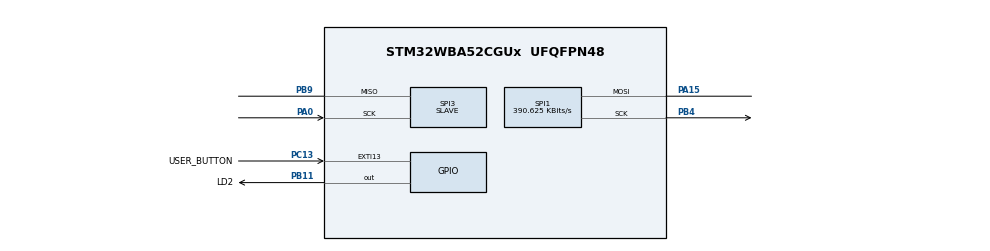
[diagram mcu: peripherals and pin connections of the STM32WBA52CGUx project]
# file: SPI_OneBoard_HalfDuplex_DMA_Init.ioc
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CORTEX_M33_NS.userName=CORTEX_M33
GPDMA1.DESTINC_GPDMACH1=DMA_DINC_INCREMENTED
GPDMA1.DIRECTION_GPDMACH0=DMA_MEMORY_TO_PERIPH
GPDMA1.IPHANDLE_GPDMACH0-SIMPLEREQUEST_GPDMACH0=__NULL
GPDMA1.IPHANDLE_GPDMACH1-SIMPLEREQUEST_GPDMACH1=__NULL
GPDMA1.REQUEST_GPDMACH0=GPDMA1_REQUEST_SPI1_TX
GPDMA1.REQUEST_GPDMACH1=GPDMA1_REQUEST_SPI3_RX
GPDMA1.SRCINC_GPDMACH0=DMA_SINC_INCREMENTED
GPDMA1.TRANSFERALLOCATEDPORTDEST_GPDMACH1=DMA_DEST_ALLOCATED_PORT1
GPDMA1.TRANSFERALLOCATEDPORTSRC_GPDMACH0=DMA_SRC_ALLOCATED_PORT1
Mcu.Family=STM32WBA
Mcu.Name=STM32WBA52CGUx
Mcu.Package=UFQFPN48
NVIC.EXTI13_IRQn=true\:0\:0\:false\:false\:true\:true\:true\:true
NVIC.GPDMA1_Channel0_IRQn=true\:0\:0\:false\:false\:true\:false\:true\:true
NVIC.GPDMA1_Channel1_IRQn=true\:0\:0\:false\:false\:true\:false\:true\:true
NVIC.PriorityGroup=NVIC_PRIORITYGROUP_4
OSC_IN.Mode=HSE-External-Oscillator
OSC_IN.Signal=RCC_OSC_IN
OSC_OUT.Mode=HSE-External-Oscillator
OSC_OUT.Signal=RCC_OSC_OUT
PA0.GPIO_PuPd=GPIO_PULLDOWN
PA0.GPIO_Speed=GPIO_SPEED_FREQ_HIGH
PA0.Mode=Simplex_Bidirectional_Slave
PA0.Signal=SPI3_SCK
PA15\ (JTDI).GPIO_PuPd=GPIO_PULLDOWN
PA15\ (JTDI).GPIO_Speed=GPIO_SPEED_FREQ_HIGH
PA15\ (JTDI).Mode=Simplex_Bidirectional_Master
PA15\ (JTDI).Signal=SPI1_MOSI
PB11.GPIO_Label=LD2
PB11.PinState=GPIO_PIN_SET
PB11.Signal=GPIO_Output
PB4\ (NJTRST).GPIO_PuPd=GPIO_PULLDOWN
PB4\ (NJTRST).GPIO_Speed=GPIO_SPEED_FREQ_HIGH
PB4\ (NJTRST).Mode=Simplex_Bidirectional_Master
PB4\ (NJTRST).Signal=SPI1_SCK
PB9.GPIO_PuPd=GPIO_PULLDOWN
PB9.GPIO_Speed=GPIO_SPEED_FREQ_HIGH
PB9.Mode=Simplex_Bidirectional_Slave
PB9.Signal=SPI3_MISO
PC13.GPIO_Label=USER_BUTTON
PC13.GPIO_ModeDefaultEXTI=GPIO_MODE_IT_FALLING
PC13.GPIO_PuPd=GPIO_PULLUP
PC13.Signal=GPXTI13
ProjectManager.HeapSize=0x200
ProjectManager.StackSize=0x400
ProjectManager.TargetToolchain=EWARM V9.20
RCC.ADCFreq_Value=100000000
RCC.AHB5CLKDivider=DIV4
RCC.AHBFreq_Value=100000000
RCC.APB1Freq_Value=100000000
RCC.APB1TimFreq_Value=100000000
RCC.APB2Freq_Value=100000000
RCC.APB2TimFreq_Value=100000000
RCC.CortexFreq_Value=12500000
RCC.HCLKFreq_Value=100000000
RCC.HSE_VALUE=32000000
RCC.HSI_VALUE=16000000
RCC.LSE_VALUE=32768
RCC.PLLFRACN=0
RCC.PLLM=4
RCC.PLLN=25
RCC.PLLSourceVirtual=RCC_PLLSOURCE_HSE
RCC.SYSCLKFreq_VALUE=100000000
RCC.SYSCLKSourceVirtual=RCC_SYSCLKSOURCE_PLLCLK
RCC.VCOOutputFreq_Value=200000000
SPI1.BaudRatePrescaler=SPI_BAUDRATEPRESCALER_256
SPI1.CLKPhase=SPI_PHASE_2EDGE
SPI1.CLKPolarity=SPI_POLARITY_HIGH
SPI1.CalculateBaudRate=390.625 KBits/s
SPI1.DataSize=SPI_DATASIZE_8BIT
SPI1.Direction=SPI_DIRECTION_1LINE
SPI1.Mode=SPI_MODE_MASTER
SPI1.VirtualType=VM_MASTER
SPI3.CLKPhase=SPI_PHASE_2EDGE
SPI3.CLKPolarity=SPI_POLARITY_HIGH
SPI3.CRCCalculation=SPI_CRCCALCULATION_DISABLE
SPI3.DataSize=SPI_DATASIZE_8BIT
SPI3.Direction=SPI_DIRECTION_1LINE
SPI3.FirstBit=SPI_FIRSTBIT_MSB
SPI3.Mode=SPI_MODE_SLAVE
SPI3.NSS=SPI_NSS_SOFT
SPI3.TIMode=SPI_TIMODE_DISABLE
SPI3.VirtualType=VM_SLAVE
VP_GPDMA1_VS_GPDMACH0.Mode=SIMPLEREQUEST_GPDMACH0
VP_GPDMA1_VS_GPDMACH1.Mode=SIMPLEREQUEST_GPDMACH1
VP_ICACHE_VS_ICACHE.Mode=DirectMappedCache
VP_PWR_VS_SECSignals.Mode=Security/Privilege
board=custom

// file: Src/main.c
/* USER CODE BEGIN Header */
/**
  ******************************************************************************
  * @file    Examples_LL/SPI/SPI_OneBoard_HalfDuplex_DMA_Init/Src/main.c
  * @author  MCD Application Team
  * @brief   This example describes how to send/receive bytes over SPI IP using
  *          the STM32WBAxx SPI LL API.
  *          Peripheral initialization done using LL initialization function.
  ******************************************************************************
  * @attention
  *
  * Copyright (c) 2023 STMicroelectronics.
  * All rights reserved.
  *
  * This software is licensed under terms that can be found in the LICENSE file
  * in the root directory of this software component.
  * If no LICENSE file comes with this software, it is provided AS-IS.
  *
  ******************************************************************************
  */
/* USER CODE END Header */
#include "main.h"

/* USER CODE BEGIN PTD */
LL_SPI_InitTypeDef spi_initstruct;
/* USER CODE END PTD */

/* USER CODE BEGIN PV */
__IO uint8_t ubButtonPress = 0;

/* Buffer used for transmission */
uint8_t aTxBuffer[] = "**** SPI_OneBoard_HalfDuplex_DMA_Init communication **** SPI_OneBoard_HalfDuplex_DMA_Init communication **** SPI_OneBoard_HalfDuplex_DMA_Init communication ****";
uint8_t ubNbDataToTransmit = sizeof(aTxBuffer);
__IO uint8_t ubTransmissionComplete = 0;

/* Buffer used for reception */
uint8_t aRxBuffer[sizeof(aTxBuffer)];
uint8_t ubNbDataToReceive = sizeof(aTxBuffer);
__IO uint8_t ubReceptionComplete = 0;
/* USER CODE END PV */

void SystemClock_Config(void);
static void MX_GPIO_Init(void);
static void MX_GPDMA1_Init(void);
static void MX_ICACHE_Init(void);
static void MX_SPI1_Init(void);
static void MX_SPI3_Init(void);
/* USER CODE BEGIN PFP */
void     SystemClock_Config(void);
void     Activate_SPI1(void);
void     Activate_SPI3(void);
void     LED_On(void);
void     LED_Blinking(uint32_t Period);
void     LED_Off(void);
void     UserButton_Init(void);
void     WaitForUserButtonPress(void);
void     WaitAndCheckEndOfTransfer(void);
uint8_t  Buffercmp8(uint8_t *pBuffer1, uint8_t *pBuffer2, uint8_t BufferLength);
/* USER CODE END PFP */

int main(void)
{

  /* MCU Configuration--------------------------------------------------------*/

  /* Reset of all peripherals, Initializes the Flash interface and the Systick. */

  /* System interrupt init*/
  NVIC_SetPriorityGrouping(NVIC_PRIORITYGROUP_4);

  /* Enable PWR clock interface */

  LL_AHB4_GRP1_EnableClock(LL_AHB4_GRP1_PERIPH_PWR);

  /* Configure the system clock */
  SystemClock_Config();

  /* Initialize all configured peripherals */
  MX_GPIO_Init();
  MX_GPDMA1_Init();
  MX_ICACHE_Init();
  MX_SPI1_Init();
  MX_SPI3_Init();
  /* USER CODE BEGIN 2 */
  /* Configure the GPDMA1_Channel0 functional parameters */
  LL_DMA_ConfigAddresses(GPDMA1, LL_DMA_CHANNEL_0, (uint32_t)aTxBuffer, (uint32_t)&(SPI1->TXDR));

  LL_DMA_SetBlkDataLength(GPDMA1, LL_DMA_CHANNEL_0, ubNbDataToTransmit);
  LL_DMA_SetPeriphRequest(GPDMA1, LL_DMA_CHANNEL_0, LL_GPDMA1_REQUEST_SPI1_TX);

  /* Configure the GPDMA1_Channel1 functional parameters */
  LL_DMA_ConfigAddresses(GPDMA1, LL_DMA_CHANNEL_1, (uint32_t)&(SPI3->RXDR), (uint32_t)aRxBuffer);
  LL_DMA_SetBlkDataLength(GPDMA1, LL_DMA_CHANNEL_1, ubNbDataToTransmit);
  LL_DMA_SetPeriphRequest(GPDMA1, LL_DMA_CHANNEL_1, LL_GPDMA1_REQUEST_SPI3_RX);

  /* Enable DMA interrupts complete/error */
  LL_DMA_EnableIT_TC(GPDMA1, LL_DMA_CHANNEL_0);
  LL_DMA_EnableIT_DTE(GPDMA1, LL_DMA_CHANNEL_0);
  LL_DMA_EnableIT_TC(GPDMA1, LL_DMA_CHANNEL_1);
  LL_DMA_EnableIT_DTE(GPDMA1, LL_DMA_CHANNEL_1);

  /* Initialize FFIFO Threshold */
  LL_SPI_SetFIFOThreshold(SPI1, LL_SPI_FIFO_TH_01DATA);

  /* Configure SPI1 DMA transfer interrupts */
  /* Enable DMA TX Interrupt */
  LL_SPI_EnableDMAReq_TX(SPI1);

  /* Initialize FFIFO Threshold */
  LL_SPI_SetFIFOThreshold(SPI3, LL_SPI_FIFO_TH_01DATA);

  /* Configure SPI1 DMA transfer interrupts */
  /* Enable DMA RX Interrupt */
  LL_SPI_EnableDMAReq_RX(SPI3);

  /* Enable the SPI1 peripheral */
  Activate_SPI1();
  /* Enable the SPI3 peripheral */
  Activate_SPI3();

  /* Wait for USER push-button press to start transfer */
  WaitForUserButtonPress();

  /* Start Master transfer */
  LL_SPI_StartMasterTransfer(SPI1);

  /* Wait for the end of the transfer and check received data */
  /* LED blinking FAST during waiting time */
  WaitAndCheckEndOfTransfer();
  /* USER CODE END 2 */

  /* Infinite loop */
  while (1)
  {

  }
}

void SystemClock_Config(void)
{
  LL_FLASH_SetLatency(LL_FLASH_LATENCY_3);
  while(LL_FLASH_GetLatency()!= LL_FLASH_LATENCY_3)
  {
  }

  LL_PWR_SetRegulVoltageScaling(LL_PWR_REGU_VOLTAGE_SCALE1);
  LL_RCC_HSE_Enable();

   /* Wait till HSE is ready */
  while(LL_RCC_HSE_IsReady() != 1)
  {
  }

  LL_RCC_PLL1_ConfigDomain_SYS(LL_RCC_PLL1SOURCE_HSE, 4, 25, 2);
  LL_RCC_PLL1_EnableDomain_PLL1R();
  LL_RCC_PLL1_SetVCOInputRange(LL_RCC_PLLINPUTRANGE_8_16);
  LL_RCC_PLL1_Enable();

   /* Wait till PLL is ready */
  while(LL_RCC_PLL1_IsReady() != 1)
  {
  }

  LL_RCC_SetSysClkSource(LL_RCC_SYS_CLKSOURCE_PLL1R);

   /* Wait till System clock is ready */
  while(LL_RCC_GetSysClkSource() != LL_RCC_SYS_CLKSOURCE_STATUS_PLL1R)
  {
  }

  LL_RCC_SetAHBPrescaler(LL_RCC_SYSCLK_DIV_1);
  LL_RCC_SetAHB5Prescaler(LL_RCC_AHB5_DIV_4);
  LL_RCC_SetAPB1Prescaler(LL_RCC_APB1_DIV_1);
  LL_RCC_SetAPB2Prescaler(LL_RCC_APB2_DIV_1);
  LL_RCC_SetAPB7Prescaler(LL_RCC_APB7_DIV_1);

  LL_Init1msTick(100000000);

  LL_SetSystemCoreClock(100000000);
}

static void MX_GPDMA1_Init(void)
{

  /* Peripheral clock enable */
  LL_AHB1_GRP1_EnableClock(LL_AHB1_GRP1_PERIPH_GPDMA1);

  /* GPDMA1 interrupt Init */
  NVIC_SetPriority(GPDMA1_Channel0_IRQn, NVIC_EncodePriority(NVIC_GetPriorityGrouping(),0, 0));
  NVIC_EnableIRQ(GPDMA1_Channel0_IRQn);
  NVIC_SetPriority(GPDMA1_Channel1_IRQn, NVIC_EncodePriority(NVIC_GetPriorityGrouping(),0, 0));
  NVIC_EnableIRQ(GPDMA1_Channel1_IRQn);

}

static void MX_ICACHE_Init(void)
{

  /** Enable instruction cache in 1-way (direct mapped cache)
  */
  LL_ICACHE_SetMode(LL_ICACHE_1WAY);
  LL_ICACHE_Enable();

}

static void MX_SPI1_Init(void)
{

  LL_SPI_InitTypeDef SPI_InitStruct = {0};

  LL_GPIO_InitTypeDef GPIO_InitStruct = {0};
  LL_DMA_InitTypeDef DMA_InitStruct = {0};

  LL_RCC_SetSPIClockSource(LL_RCC_SPI1_CLKSOURCE_PCLK2);

  /* Peripheral clock enable */
  LL_APB2_GRP1_EnableClock(LL_APB2_GRP1_PERIPH_SPI1);

  LL_AHB2_GRP1_EnableClock(LL_AHB2_GRP1_PERIPH_GPIOB);
  LL_AHB2_GRP1_EnableClock(LL_AHB2_GRP1_PERIPH_GPIOA);
  /**SPI1 GPIO Configuration
  PB4 (NJTRST)   ------> SPI1_SCK
  PA15 (JTDI)   ------> SPI1_MOSI
  */
  GPIO_InitStruct.Pin = LL_GPIO_PIN_4;
  GPIO_InitStruct.Mode = LL_GPIO_MODE_ALTERNATE;
  GPIO_InitStruct.Speed = LL_GPIO_SPEED_FREQ_HIGH;
  GPIO_InitStruct.OutputType = LL_GPIO_OUTPUT_PUSHPULL;
  GPIO_InitStruct.Pull = LL_GPIO_PULL_DOWN;
  GPIO_InitStruct.Alternate = LL_GPIO_AF_5;
  LL_GPIO_Init(GPIOB, &GPIO_InitStruct);

  GPIO_InitStruct.Pin = LL_GPIO_PIN_15;
  GPIO_InitStruct.Mode = LL_GPIO_MODE_ALTERNATE;
  GPIO_InitStruct.Speed = LL_GPIO_SPEED_FREQ_HIGH;
  GPIO_InitStruct.OutputType = LL_GPIO_OUTPUT_PUSHPULL;
  GPIO_InitStruct.Pull = LL_GPIO_PULL_DOWN;
  GPIO_InitStruct.Alternate = LL_GPIO_AF_5;
  LL_GPIO_Init(GPIOA, &GPIO_InitStruct);

  /* SPI1 DMA Init */

  /* GPDMA1_REQUEST_SPI1_TX Init */
  DMA_InitStruct.SrcAddress = 0x00000000U;
  DMA_InitStruct.DestAddress = 0x00000000U;
  DMA_InitStruct.Direction = LL_DMA_DIRECTION_MEMORY_TO_PERIPH;
  DMA_InitStruct.BlkHWRequest = LL_DMA_HWREQUEST_SINGLEBURST;
  DMA_InitStruct.DataAlignment = LL_DMA_DATA_ALIGN_ZEROPADD;
  DMA_InitStruct.SrcBurstLength = 1;
  DMA_InitStruct.DestBurstLength = 1;
  DMA_InitStruct.SrcDataWidth = LL_DMA_SRC_DATAWIDTH_BYTE;
  DMA_InitStruct.DestDataWidth = LL_DMA_DEST_DATAWIDTH_BYTE;
  DMA_InitStruct.SrcIncMode = LL_DMA_SRC_INCREMENT;
  DMA_InitStruct.DestIncMode = LL_DMA_DEST_FIXED;
  DMA_InitStruct.Priority = LL_DMA_LOW_PRIORITY_LOW_WEIGHT;
  DMA_InitStruct.BlkDataLength = 0x00000000U;
  DMA_InitStruct.TriggerMode = LL_DMA_TRIGM_BLK_TRANSFER;
  DMA_InitStruct.TriggerPolarity = LL_DMA_TRIG_POLARITY_MASKED;
  DMA_InitStruct.TriggerSelection = 0x00000000U;
  DMA_InitStruct.Request = LL_GPDMA1_REQUEST_SPI1_TX;
  DMA_InitStruct.TransferEventMode = LL_DMA_TCEM_BLK_TRANSFER;
  DMA_InitStruct.SrcAllocatedPort = LL_DMA_SRC_ALLOCATED_PORT1;
  DMA_InitStruct.DestAllocatedPort = LL_DMA_DEST_ALLOCATED_PORT0;
  DMA_InitStruct.LinkAllocatedPort = LL_DMA_LINK_ALLOCATED_PORT1;
  DMA_InitStruct.LinkStepMode = LL_DMA_LSM_FULL_EXECUTION;
  DMA_InitStruct.LinkedListBaseAddr = 0x00000000U;
  DMA_InitStruct.LinkedListAddrOffset = 0x00000000U;
  LL_DMA_Init(GPDMA1, LL_DMA_CHANNEL_0, &DMA_InitStruct);

  /* SPI1 parameter configuration*/
  SPI_InitStruct.TransferDirection = LL_SPI_HALF_DUPLEX_TX;
  SPI_InitStruct.Mode = LL_SPI_MODE_MASTER;
  SPI_InitStruct.DataWidth = LL_SPI_DATAWIDTH_8BIT;
  SPI_InitStruct.ClockPolarity = LL_SPI_POLARITY_HIGH;
  SPI_InitStruct.ClockPhase = LL_SPI_PHASE_2EDGE;
  SPI_InitStruct.NSS = LL_SPI_NSS_SOFT;
  SPI_InitStruct.BaudRate = LL_SPI_BAUDRATEPRESCALER_DIV256;
  SPI_InitStruct.BitOrder = LL_SPI_MSB_FIRST;
  SPI_InitStruct.CRCCalculation = LL_SPI_CRCCALCULATION_DISABLE;
  SPI_InitStruct.CRCPoly = 0x7;
  LL_SPI_Init(SPI1, &SPI_InitStruct);
  LL_SPI_SetStandard(SPI1, LL_SPI_PROTOCOL_MOTOROLA);
  LL_SPI_DisableNSSPulseMgt(SPI1);

}

static void MX_SPI3_Init(void)
{

  LL_SPI_InitTypeDef SPI_InitStruct = {0};

  LL_GPIO_InitTypeDef GPIO_InitStruct = {0};
  LL_DMA_InitTypeDef DMA_InitStruct = {0};

  LL_RCC_SetSPIClockSource(LL_RCC_SPI3_CLKSOURCE_PCLK7);

  /* Peripheral clock enable */
  LL_APB7_GRP1_EnableClock(LL_APB7_GRP1_PERIPH_SPI3);

  LL_AHB2_GRP1_EnableClock(LL_AHB2_GRP1_PERIPH_GPIOA);
  LL_AHB2_GRP1_EnableClock(LL_AHB2_GRP1_PERIPH_GPIOB);
  /**SPI3 GPIO Configuration
  PA0   ------> SPI3_SCK
  PB9   ------> SPI3_MISO
  */
  GPIO_InitStruct.Pin = LL_GPIO_PIN_0;
  GPIO_InitStruct.Mode = LL_GPIO_MODE_ALTERNATE;
  GPIO_InitStruct.Speed = LL_GPIO_SPEED_FREQ_HIGH;
  GPIO_InitStruct.OutputType = LL_GPIO_OUTPUT_PUSHPULL;
  GPIO_InitStruct.Pull = LL_GPIO_PULL_DOWN;
  GPIO_InitStruct.Alternate = LL_GPIO_AF_6;
  LL_GPIO_Init(GPIOA, &GPIO_InitStruct);

  GPIO_InitStruct.Pin = LL_GPIO_PIN_9;
  GPIO_InitStruct.Mode = LL_GPIO_MODE_ALTERNATE;
  GPIO_InitStruct.Speed = LL_GPIO_SPEED_FREQ_HIGH;
  GPIO_InitStruct.OutputType = LL_GPIO_OUTPUT_PUSHPULL;
  GPIO_InitStruct.Pull = LL_GPIO_PULL_DOWN;
  GPIO_InitStruct.Alternate = LL_GPIO_AF_6;
  LL_GPIO_Init(GPIOB, &GPIO_InitStruct);

  /* SPI3 DMA Init */

  /* GPDMA1_REQUEST_SPI3_RX Init */
  DMA_InitStruct.SrcAddress = 0x00000000U;
  DMA_InitStruct.DestAddress = 0x00000000U;
  DMA_InitStruct.Direction = LL_DMA_DIRECTION_PERIPH_TO_MEMORY;
  DMA_InitStruct.BlkHWRequest = LL_DMA_HWREQUEST_SINGLEBURST;
  DMA_InitStruct.DataAlignment = LL_DMA_DATA_ALIGN_ZEROPADD;
  DMA_InitStruct.SrcBurstLength = 1;
  DMA_InitStruct.DestBurstLength = 1;
  DMA_InitStruct.SrcDataWidth = LL_DMA_SRC_DATAWIDTH_BYTE;
  DMA_InitStruct.DestDataWidth = LL_DMA_DEST_DATAWIDTH_BYTE;
  DMA_InitStruct.SrcIncMode = LL_DMA_SRC_FIXED;
  DMA_InitStruct.DestIncMode = LL_DMA_DEST_INCREMENT;
  DMA_InitStruct.Priority = LL_DMA_LOW_PRIORITY_LOW_WEIGHT;
  DMA_InitStruct.BlkDataLength = 0x00000000U;
  DMA_InitStruct.TriggerMode = LL_DMA_TRIGM_BLK_TRANSFER;
  DMA_InitStruct.TriggerPolarity = LL_DMA_TRIG_POLARITY_MASKED;
  DMA_InitStruct.TriggerSelection = 0x00000000U;
  DMA_InitStruct.Request = LL_GPDMA1_REQUEST_SPI3_RX;
  DMA_InitStruct.TransferEventMode = LL_DMA_TCEM_BLK_TRANSFER;
  DMA_InitStruct.SrcAllocatedPort = LL_DMA_SRC_ALLOCATED_PORT0;
  DMA_InitStruct.DestAllocatedPort = LL_DMA_DEST_ALLOCATED_PORT1;
  DMA_InitStruct.LinkAllocatedPort = LL_DMA_LINK_ALLOCATED_PORT1;
  DMA_InitStruct.LinkStepMode = LL_DMA_LSM_FULL_EXECUTION;
  DMA_InitStruct.LinkedListBaseAddr = 0x00000000U;
  DMA_InitStruct.LinkedListAddrOffset = 0x00000000U;
  LL_DMA_Init(GPDMA1, LL_DMA_CHANNEL_1, &DMA_InitStruct);

  /* SPI3 parameter configuration*/
  SPI_InitStruct.TransferDirection = LL_SPI_HALF_DUPLEX_RX;
  SPI_InitStruct.Mode = LL_SPI_MODE_SLAVE;
  SPI_InitStruct.DataWidth = LL_SPI_DATAWIDTH_8BIT;
  SPI_InitStruct.ClockPolarity = LL_SPI_POLARITY_HIGH;
  SPI_InitStruct.ClockPhase = LL_SPI_PHASE_2EDGE;
  SPI_InitStruct.NSS = LL_SPI_NSS_SOFT;
  SPI_InitStruct.BitOrder = LL_SPI_MSB_FIRST;
  SPI_InitStruct.CRCCalculation = LL_SPI_CRCCALCULATION_DISABLE;
  SPI_InitStruct.CRCPoly = 0x7;
  LL_SPI_Init(SPI3, &SPI_InitStruct);
  LL_SPI_SetStandard(SPI3, LL_SPI_PROTOCOL_MOTOROLA);
  LL_SPI_DisableNSSPulseMgt(SPI3);

}

static void MX_GPIO_Init(void)
{
  LL_EXTI_InitTypeDef EXTI_InitStruct = {0};
  LL_GPIO_InitTypeDef GPIO_InitStruct = {0};

  /* GPIO Ports Clock Enable */
  LL_AHB2_GRP1_EnableClock(LL_AHB2_GRP1_PERIPH_GPIOB);
  LL_AHB2_GRP1_EnableClock(LL_AHB2_GRP1_PERIPH_GPIOA);
  LL_AHB2_GRP1_EnableClock(LL_AHB2_GRP1_PERIPH_GPIOC);

  /**/
  LL_GPIO_SetOutputPin(LD2_GPIO_Port, LD2_Pin);

  /**/
  GPIO_InitStruct.Pin = LD2_Pin;
  GPIO_InitStruct.Mode = LL_GPIO_MODE_OUTPUT;
  GPIO_InitStruct.Speed = LL_GPIO_SPEED_FREQ_LOW;
  GPIO_InitStruct.OutputType = LL_GPIO_OUTPUT_PUSHPULL;
  GPIO_InitStruct.Pull = LL_GPIO_PULL_NO;
  LL_GPIO_Init(LD2_GPIO_Port, &GPIO_InitStruct);

  /**/
  LL_EXTI_SetEXTISource(LL_EXTI_CONFIG_PORTC, LL_EXTI_CONFIG_LINE13);

  /**/
  EXTI_InitStruct.Line_0_31 = LL_EXTI_LINE_13;
  EXTI_InitStruct.LineCommand = ENABLE;
  EXTI_InitStruct.Mode = LL_EXTI_MODE_IT;
  EXTI_InitStruct.Trigger = LL_EXTI_TRIGGER_FALLING;
  LL_EXTI_Init(&EXTI_InitStruct);

  /**/
  LL_GPIO_SetPinPull(USER_BUTTON_GPIO_Port, USER_BUTTON_Pin, LL_GPIO_PULL_UP);

  /**/
  LL_GPIO_SetPinMode(USER_BUTTON_GPIO_Port, USER_BUTTON_Pin, LL_GPIO_MODE_INPUT);

  /* EXTI interrupt init*/
  NVIC_SetPriority(EXTI13_IRQn, NVIC_EncodePriority(NVIC_GetPriorityGrouping(),0, 0));
  NVIC_EnableIRQ(EXTI13_IRQn);

}

/* USER CODE BEGIN 4 */

/**
  * @brief  This function Activate SPI1
  * @param  None
  * @retval None
  */
void Activate_SPI1(void)
{
  /* Enable SPI1 */
  LL_SPI_Enable(SPI1);
  /* Enable DMA Channels Tx */
  LL_DMA_EnableChannel(GPDMA1, LL_DMA_CHANNEL_0);
}

/**
  * @brief  This function Activate SPI3
  * @param  None
  * @retval None
  */
void Activate_SPI3(void)
{
  /* Enable SPI3 */
  LL_SPI_Enable(SPI3);
  /* Enable DMA Channels Rx */
  LL_DMA_EnableChannel(GPDMA1, LL_DMA_CHANNEL_1);
}

/**
  * @brief  Turn-on LD2.
  * @param  None
  * @retval None
  */
void LED_On(void)
{
  /* Turn LD2 on */
  LL_GPIO_ResetOutputPin(LD2_GPIO_Port, LD2_Pin);
}

/**
  * @brief  Turn-off LD2.
  * @param  None
  * @retval None
  */
void LED_Off(void)
{
  /* Turn LD2 off */
  LL_GPIO_SetOutputPin(LD2_GPIO_Port, LD2_Pin);
}

/**
  * @brief  Set LD2 to Blinking mode for an infinite loop (toggle period based on value provided as input parameter).
  * @param  Period : Period of time (in ms) between each toggling of LED
  *   This parameter can be user defined values. Pre-defined values used in that example are :
  *     @arg LED_BLINK_FAST : Fast Blinking
  *     @arg LED_BLINK_SLOW : Slow Blinking
  *     @arg LED_BLINK_ERROR : Error specific Blinking
  * @retval None
  */
void LED_Blinking(uint32_t Period)
{
  /* Toggle LD2 in an infinite loop */
  while (1)
  {
    LL_GPIO_TogglePin(LD2_GPIO_Port, LD2_Pin);
    LL_mDelay(Period);
  }
}

/**
  * @brief  Wait for USER push-button press to start transfer.
  * @param  None
  * @retval None
  */
/*  */
void WaitForUserButtonPress(void)
{
  while (ubButtonPress == 0)
  {
    LL_GPIO_TogglePin(LD2_GPIO_Port, LD2_Pin);
    LL_mDelay(LED_BLINK_FAST);
  }
  /* Ensure that LD2 is turned Off */
  LED_Off();
}

/**
  * @brief  Wait end of transfer and check if received Data are well.
  * @param  None
  * @retval None
  */
void WaitAndCheckEndOfTransfer(void)
{
  /* 1 - Wait end of transmission */
  while (ubTransmissionComplete != 1)
  {
  }
  /* Disable GPDMA1 Tx Channel */
  LL_DMA_DisableChannel(GPDMA1, LL_DMA_CHANNEL_0);
  /* 2 - Wait end of reception */
  while (ubReceptionComplete != 1)
  {
  }
  /* Disable GPDMA1 Rx Channel */
  LL_DMA_DisableChannel(GPDMA1, LL_DMA_CHANNEL_1);
  /* 3 - Compare Transmit data to receive data */
  if (Buffercmp8((uint8_t *)aTxBuffer, (uint8_t *)aRxBuffer, ubNbDataToTransmit))
  {
    /* Processing Error */
    LED_Blinking(LED_BLINK_ERROR);
  }
  else
  {
    /* Turn On Led if data are well received */
    LED_On();
  }
}

/**
* @brief Compares two 8-bit buffers and returns the comparison result.
* @param pBuffer1: pointer to the source buffer to be compared to.
* @param pBuffer2: pointer to the second source buffer to be compared to the first.
* @param BufferLength: buffer's length.
* @retval   0: Comparison is OK (the two Buffers are identical)
*           Value different from 0: Comparison is NOK (Buffers are different)
*/
uint8_t Buffercmp8(uint8_t *pBuffer1, uint8_t *pBuffer2, uint8_t BufferLength)
{
  while (BufferLength--)
  {
    if (*pBuffer1 != *pBuffer2)
    {
      return 1;
    }

    pBuffer1++;
    pBuffer2++;
  }

  return 0;
}

/******************************************************************************/
/*   USER IRQ HANDLER TREATMENT Functions                                     */
/******************************************************************************/
/**
  * @brief  Function to manage USER push-button
  * @param  None
  * @retval None
  */
void UserButton_Callback(void)
{
  /* Update USER push-button variable : to be checked in waiting loop in main program */
  ubButtonPress = 1;
}

/**
  * @brief  Function called from GPDMA1 IRQ Handler when Tx transfer is completed
  * @param  None
  * @retval None
  */
void GPDMA1_TransmitComplete_Callback(void)
{
  /* DMA Tx transfer completed */
  ubTransmissionComplete = 1;
}

/**
  * @brief  Function called from GPDMA1 IRQ Handler when Rx transfer is completed
  * @param  None
  * @retval None
  */
void GPDMA1_ReceiveComplete_Callback(void)
{
  /* DMA Rx transfer completed */
  ubReceptionComplete = 1;
}

/**
  * @brief  Function called in case of error detected in SPI IT Handler
  * @param  None
  * @retval None
  */
void SPI_TransferError_Callback(void)
{
  /* Disable GPDMA1 Tx Channel */
  LL_DMA_DisableChannel(GPDMA1, LL_DMA_CHANNEL_0);
  /* Disable GPDMA1 Rx Channel */
  LL_DMA_DisableChannel(GPDMA1, LL_DMA_CHANNEL_1);

  /* Set LD2 to Blinking mode to indicate error occurs */
  LED_Blinking(LED_BLINK_ERROR);
}

/* USER CODE END 4 */

void Error_Handler(void)
{
}
